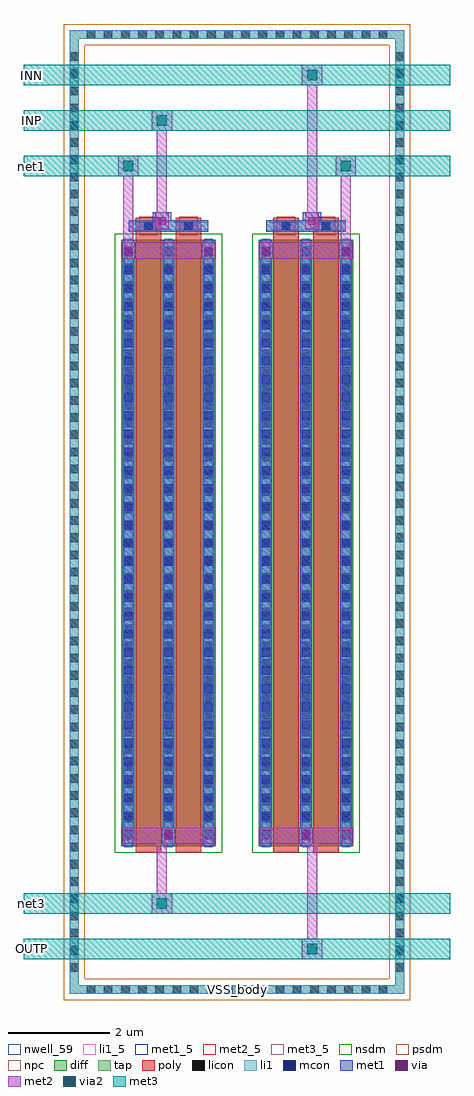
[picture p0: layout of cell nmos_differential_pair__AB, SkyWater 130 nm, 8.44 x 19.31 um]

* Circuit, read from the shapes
.subckt nmos_differential_pair__AB INN INP OUTP VSS_body net1 net3
XM1 net3 INP net1 VSS_body sky130_fd_pr__nfet_01v8 w=12 l=0.5 m=2
XM2 OUTP INN net1 VSS_body sky130_fd_pr__nfet_01v8 w=12 l=0.5 m=2
.ends

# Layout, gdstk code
from math import pi, radians
import gdstk
lib = gdstk.Library(unit=1e-6, precision=1e-09)
def R(c, l, rs):  # rectangles x0, y0, x1, y1
    for r in rs: c.add(gdstk.rectangle(r[:2], r[2:], *l))
def A(c, l, x, y, w, h, nx, ny, dx, dy):  # array of equal rectangles
    R(c, l, [(x+i*dx, y+j*dy, x+i*dx+w, y+j*dy+h) for i in range(nx) for j in range(ny)])
nwell_59 = (64, 59)
diff = (65, 20)
tap = (65, 44)
poly = (66, 20)
licon = (66, 44)
li1_5 = (67, 5)
li1 = (67, 20)
mcon = (67, 44)
met1_5 = (68, 5)
met1 = (68, 20)
via = (68, 44)
met2_5 = (69, 5)
met2 = (69, 20)
via2 = (69, 44)
met3_5 = (70, 5)
met3 = (70, 20)
nsdm = (93, 44)
psdm = (94, 20)
npc = (95, 20)

sky130_fd_pr__nfet_01v8_ = lib.new_cell('sky130_fd_pr__nfet_01v8_CLRSRR')
R(sky130_fd_pr__nfet_01v8_, diff, [(-0.935,-6.155,0.935,5.845)])
R(sky130_fd_pr__nfet_01v8_, poly, [(-0.645,-6.285,-0.145,6.285), (0.145,-6.285,0.645,6.285)])
A(sky130_fd_pr__nfet_01v8_, licon, -0.875, -6.02, 0.17, 0.17, 3, 35, 0.79, 0.34)
R(sky130_fd_pr__nfet_01v8_, licon, [(-0.48,6.035,-0.31,6.205), (0.31,6.035,0.48,6.205)])
A(sky130_fd_pr__nfet_01v8_, li1, -0.875, -6.175, 0.17, 12.04, 3, 1, 0.79, 0)
R(sky130_fd_pr__nfet_01v8_, li1, [(-0.79,6.035,0.79,6.205)])
A(sky130_fd_pr__nfet_01v8_, mcon, -0.875, -6, 0.17, 0.17, 3, 33, 0.79, 0.36)
R(sky130_fd_pr__nfet_01v8_, mcon, [(-0.48,6.035,-0.31,6.205), (0.31,6.035,0.48,6.205)])
A(sky130_fd_pr__nfet_01v8_, met1, -0.905, -6.155, 0.23, 12, 3, 1, 0.79, 0)
R(sky130_fd_pr__nfet_01v8_, met1, [(-0.625,6.005,-0.165,6.035), (0.165,6.005,0.625,6.035), (-0.79,6.035,0.79,6.205), (-0.625,6.205,-0.165,6.235), (0.165,6.205,0.625,6.235)])
R(sky130_fd_pr__nfet_01v8_, nsdm, [(-1.06,-6.28,1.06,5.97)])
R(sky130_fd_pr__nfet_01v8_, npc, [(-0.58,5.935,-0.21,6.305), (0.21,5.935,0.58,6.305)])
sky130_fd_pr__nfet_01v8_.add(gdstk.Label('D0', (-0.79,-0.155), layer=67, texttype=5))
sky130_fd_pr__nfet_01v8_.add(gdstk.Label('G', (0.395,6.12), layer=67, texttype=5))
sky130_fd_pr__nfet_01v8_.add(gdstk.Label('G', (-0.395,6.12), layer=67, texttype=5))
sky130_fd_pr__nfet_01v8_.add(gdstk.Label('S1', (0,-0.155), layer=67, texttype=5))

nfet_01v8_w24_l0p5_m1__n = lib.new_cell('nfet_01v8_W24_L0p5_m1__nf2_gtop_sdfull_outS_ng')
R(nfet_01v8_w24_l0p5_m1__n, nwell_59, [(0.05,6.08,0.15,6.18)])
R(nfet_01v8_w24_l0p5_m1__n, met1_5, [(0.145,12.29,1.725,12.52)])
R(nfet_01v8_w24_l0p5_m1__n, met1, [(0.805,0.18,1.065,0.5), (0.015,11.76,0.275,12.08), (1.595,11.76,1.855,12.08), (0.145,12.29,1.725,12.52)])
R(nfet_01v8_w24_l0p5_m1__n, via, [(0.86,0.265,1.01,0.415), (0.07,11.845,0.22,11.995), (1.65,11.845,1.8,11.995)])
R(nfet_01v8_w24_l0p5_m1__n, met2_5, [(0.01,0.18,1.86,0.5), (0.01,11.76,1.86,12.08)])
R(nfet_01v8_w24_l0p5_m1__n, met2, [(0.01,0.18,1.86,0.5), (0.01,11.76,1.86,12.08)])
nfet_01v8_w24_l0p5_m1__n.add(gdstk.Reference(sky130_fd_pr__nfet_01v8_, (0.935,6.285)))
nfet_01v8_w24_l0p5_m1__n.add(gdstk.Label('S', (0.935,11.92), layer=69, texttype=5))
nfet_01v8_w24_l0p5_m1__n.add(gdstk.Label('D', (0.935,0.34), layer=69, texttype=5))
nfet_01v8_w24_l0p5_m1__n.add(gdstk.Label('G', (0.935,12.405), layer=68, texttype=5))
nfet_01v8_w24_l0p5_m1__n.add(gdstk.Label('B', (0.1,6.13), layer=64, texttype=59))

nmos_differential_pair__ = lib.new_cell('nmos_differential_pair__AB')
R(nmos_differential_pair__, tap, [(-0.885,-2.785,5.725,-2.615), (-0.885,-2.615,-0.715,16.105), (5.555,-2.615,5.725,16.105), (-0.885,16.105,5.725,16.275)])
A(nmos_differential_pair__, licon, -0.555, -2.785, 0.17, 0.17, 18, 2, 0.34, 18.89)
A(nmos_differential_pair__, licon, -0.885, -2.35, 0.17, 0.17, 1, 54, 0, 0.34)
A(nmos_differential_pair__, licon, 5.555, -2.35, 0.17, 0.17, 1, 54, 0, 0.34)
R(nmos_differential_pair__, li1_5, [(2.37,-2.75,2.47,-2.65)])
R(nmos_differential_pair__, li1, [(-0.885,-2.785,5.725,-2.615), (-0.885,-2.615,-0.715,16.105), (5.555,-2.615,5.725,16.105), (-0.885,16.105,5.725,16.275)])
R(nmos_differential_pair__, met1, [(0.755,12.32,1.115,12.68), (3.725,12.32,4.085,12.68)])
R(nmos_differential_pair__, via, [(0.86,12.425,1.01,12.575), (3.83,12.425,3.98,12.575)])
R(nmos_differential_pair__, met2, [(3.705,-2.1,4.105,-1.7), (3.805,-1.7,4.005,0.28), (0.735,-1.2,1.135,-0.8), (0.835,-0.8,1.035,0.28), (0.17,11.98,0.37,13.39), (4.47,11.98,4.67,13.39), (0.805,12.34,1.065,12.66), (3.775,12.34,4.035,12.66), (0.835,12.66,1.035,14.29), (3.805,12.66,4.005,15.19), (0.07,13.39,0.47,13.79), (4.37,13.39,4.77,13.79), (0.735,14.29,1.135,14.69), (3.705,15.19,4.105,15.59)])
R(nmos_differential_pair__, via2, [(3.805,-2,4.005,-1.8), (0.835,-1.1,1.035,-0.9), (0.17,13.49,0.37,13.69), (4.47,13.49,4.67,13.69), (0.835,14.39,1.035,14.59), (3.805,15.29,4.005,15.49)])
A(nmos_differential_pair__, met3_5, -1.7, 13.54, 0.1, 0.1, 1, 3, 0, 0.9)
R(nmos_differential_pair__, met3_5, [(-1.7,-1.95,-1.6,-1.85), (-1.7,-1.05,-1.6,-0.95)])
A(nmos_differential_pair__, met3, -1.8, 13.39, 8.44, 0.4, 1, 3, 0, 0.9)
R(nmos_differential_pair__, met3, [(-1.8,-2.1,6.64,-1.7), (-1.8,-1.2,6.64,-0.8)])
R(nmos_differential_pair__, psdm, [(-1.01,-2.91,5.85,-2.49), (-1.01,-2.49,-0.59,15.98), (5.43,-2.49,5.85,15.98), (-1.01,15.98,5.85,16.4)])
nmos_differential_pair__.add(gdstk.Reference(nfet_01v8_w24_l0p5_m1__n, (4.72,0), rotation=pi, x_reflection=True))
nmos_differential_pair__.add(gdstk.Reference(nfet_01v8_w24_l0p5_m1__n, (0.13,0)))
nmos_differential_pair__.add(gdstk.Label('net1', (-1.65,13.59), layer=70, texttype=5))
nmos_differential_pair__.add(gdstk.Label('INP', (-1.65,14.49), layer=70, texttype=5))
nmos_differential_pair__.add(gdstk.Label('INN', (-1.65,15.39), layer=70, texttype=5))
nmos_differential_pair__.add(gdstk.Label('net3', (-1.65,-1), layer=70, texttype=5))
nmos_differential_pair__.add(gdstk.Label('OUTP', (-1.65,-1.9), layer=70, texttype=5))
nmos_differential_pair__.add(gdstk.Label('VSS_body', (2.42,-2.7), layer=67, texttype=5))

lib.write_gds('nmos_differential_pair__AB.gds')
